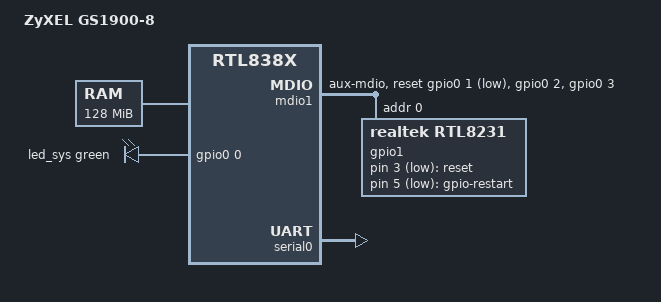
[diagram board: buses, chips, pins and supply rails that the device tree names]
// SPDX-License-Identifier: GPL-2.0-or-later
/dts-v1/;

#include "rtl83xx.dtsi"
#include "rtl838x.dtsi"

#include <dt-bindings/gpio/gpio.h>
#include <dt-bindings/input/input.h>
#include <dt-bindings/leds/common.h>

#define ZYXEL_PORT_LED(phy) \
	led@##phy##.0 { \
		reg = <##phy 0>; \
		realtek,hardware-managed; \
	}

/ {
	compatible = "zyxel,gs1900-8", "realtek,rtl83xx-soc";
	model = "ZyXEL GS1900-8";

	chosen {
		stdout-path = "serial0";
		bootargs = "earlycon console=ttyS0,115200";
	};

	memory@0 {
		device_type = "memory";
		reg = <0x0 0x8000000>;
	};

	aliases {
		led-boot = &led_sys;
		led-failsafe = &led_sys;
		led-running = &led_sys;
		led-upgrade = &led_sys;
		mdio-gpio1 = &mdio1;
	};

	leds {
		compatible = "gpio-leds";

		pinctrl-names = "default";
		pinctrl-0 = <&sys_led_pins>;

		led_sys: led-0 {
			gpios = <&gpio0 0 GPIO_ACTIVE_HIGH>;
			color = <LED_COLOR_ID_GREEN>;
			function = LED_FUNCTION_STATUS;
			linux,default-trigger = "default-on";
		};
	};

	keys {
		compatible = "gpio-keys-polled";
		poll-interval = <10>;
		debounce-interval = <50>;

		pinctrl-names = "default";
		pinctrl-0 = <&input_pin_cfg>;

		reset {
			gpios = <&gpio1 3 GPIO_ACTIVE_LOW>;
			linux,code = <KEY_RESTART>;
		};
	};

	gpio-restart {
		compatible = "gpio-restart";
		gpios = <&gpio1 5 GPIO_ACTIVE_LOW>;
		priority = <192>;
		open-source;
	};

	mdio1: mdio {
		compatible = "virtual,mdio-gpio";
		#address-cells = <1>;
		#size-cells = <0>;
		gpios = <&gpio0 2 GPIO_ACTIVE_HIGH>,
			<&gpio0 3 GPIO_ACTIVE_HIGH>;

		pinctrl-names = "default";
		pinctrl-0 = <&aux_mdio_pins>;

		reset-gpios = <&gpio0 1 GPIO_ACTIVE_LOW>;
		reset-delay-us = <1000>;
		reset-post-delay-us = <10000>;

		gpio1: expander@0 {
			compatible = "realtek,rtl8231";
			reg = <0x0>;

			gpio-controller;
			#gpio-cells = <2>;
			gpio-ranges = <&gpio1 0 0 37>;

			led-controller {
				compatible = "realtek,rtl8231-leds";
				#address-cells = <2>;
				#size-cells = <0>;
				status = "disabled";
			};

			input_pin_cfg: input-pins {
				gpio_pins {
					pins = "gpio3", "gpio36";
					function = "gpio";
				};
				debounce_test {
					pins = "gpio36";
					input-debounce = <100000>;
				};
			};
		};
	};

	switchcore-bus@1b000000 {
		compatible = "realtek,rtl8380-switchcore", "syscon";
		reg = <0x1b000000 0x10000>;

		led-sys {
			function = "status";
			color = <LED_COLOR_ID_GREEN>;
			linux,default-trigger = "default-on";
		};

		pinctrl {
			compatible = "realtek,rtl8380-pinctrl";

			sys_led_pins: sys-led-mux {
				groups = "sys-led";
				function = "gpio";
			};

			aux_mdio_pins: aux-mdio-mux {
				groups = "aux-mdio";
				function = "gpio";
			};

			uart1_pins: uart1-mux {
				groups = "uart1";
				function = "uart1";
			};
		};

		port-leds {
			compatible = "realtek,rtl8380-port-led";
			#address-cells = <2>;
			#size-cells = <0>;

			realtek,num-led = <1>;

			led@8.0 {
				reg = <8 0>;
				label = "lan1";
			};
			led@9.0 {
				reg = <9 0>;
				label = "lan2";
			};
			led@10.0 {
				reg = <10 0>;
				label = "lan3";
			};
			led@11.0 {
				reg = <11 0>;
				label = "lan4";
			};
			led@12.0 {
				reg = <12 0>;
				label = "lan5";
			};
			led@13.0 {
				reg = <13 0>;
				label = "lan6";
			};
			led@14.0 {
				reg = <14 0>;
				label = "lan7";
			};
			led@15.0 {
				reg = <15 0>;
				label = "lan8";
				linux,default-trigger = "timer";
			};
		};
	};
};

&serial0 {
	status = "okay";
};
